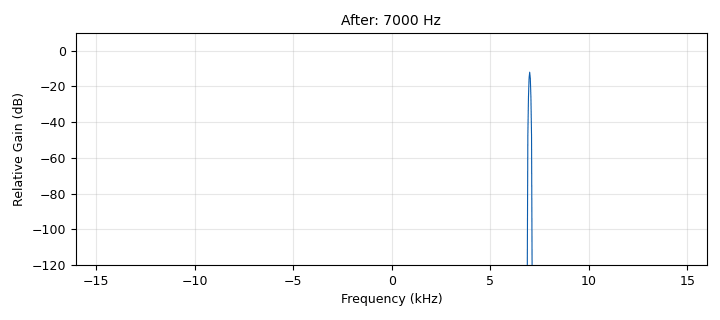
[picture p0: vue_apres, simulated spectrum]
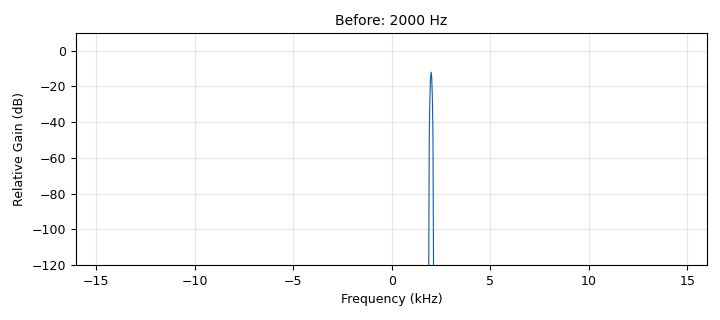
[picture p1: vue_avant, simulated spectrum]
options:
  parameters:
    generate_options: qt_gui
    id: fg_ch20_002
    output_language: python
    title: FG-CH20-002
  states: {}

blocks:
- name: f_decalage
  id: variable
  parameters:
    value: '5000'
  states: {}
- name: f_signal
  id: variable
  parameters:
    value: '2000'
  states: {}
- name: samp_rate
  id: variable
  parameters:
    value: '32000'
  states: {}
- name: debit
  id: blocks_throttle2
  parameters:
    samples_per_second: samp_rate
    type: complex
  states: {}
- name: phaseur
  id: analog_sig_source_x
  parameters:
    amp: '1'
    freq: f_decalage
    offset: '0'
    phase: '0'
    samp_rate: samp_rate
    type: complex
    waveform: analog.GR_COS_WAVE
  states: {}
- name: produit
  id: blocks_multiply_xx
  parameters:
    type: complex
  states: {}
- name: tone
  id: analog_sig_source_x
  parameters:
    amp: '0.7'
    freq: f_signal
    offset: '0'
    phase: '0'
    samp_rate: samp_rate
    type: complex
    waveform: analog.GR_COS_WAVE
  states: {}
- name: vue_apres
  id: qtgui_freq_sink_x
  parameters:
    average: '0.2'
    bw: samp_rate
    fc: '0'
    fftsize: '1024'
    grid: 'True'
    gui_hint: 1,0,1,1
    legend: 'False'
    name: '"After: 7000 Hz"'
    type: complex
    ymin: '-120'
  states: {}
- name: vue_avant
  id: qtgui_freq_sink_x
  parameters:
    average: '0.2'
    bw: samp_rate
    fc: '0'
    fftsize: '1024'
    grid: 'True'
    gui_hint: 0,0,1,1
    legend: 'False'
    name: '"Before: 2000 Hz"'
    type: complex
    ymin: '-120'
  states: {}

connections:
- [debit, '0', produit, '0']
- [debit, '0', vue_avant, '0']
- [phaseur, '0', produit, '1']
- [produit, '0', vue_apres, '0']
- [tone, '0', debit, '0']

metadata:
  file_format: 1
  grc_version: 3.10.12.0
